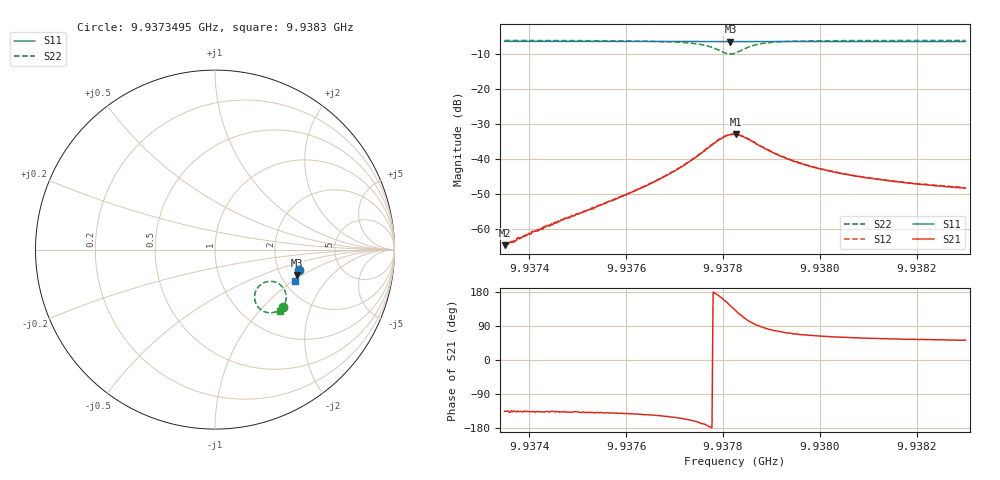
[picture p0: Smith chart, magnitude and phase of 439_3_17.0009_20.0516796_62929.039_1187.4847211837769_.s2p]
#  HZ  S  RI  R  50.00
! Rohde & Schwarz Vector Network Analyzer
! Rohde-Schwarz,ZNB20-2Port,1311601062101988,3.16
! Created: UTC 3/20/2024, 11:11:47 PM
! freq[Hz]  re:S11  im:S11  re:S21  im:S21  re:S12  im:S12  re:S22  im:S22
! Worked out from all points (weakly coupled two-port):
!   401 points, 9.9373495 GHz to 9.9383 GHz, reference 50 ohm
!   highest |S21| = -32.88 dB at 9.9378271 GHz (marker M1); lowest = -64.6 dB at 9.9373495 GHz (marker M2)
!   lowest |S11| = -6.4 dB at 9.9378153 GHz (marker M3), VSWR 2.84, Z = 123 - j44.9 ohm
!   |S11| at or under -10 dB: nowhere
!   |S22| runs from -9.9 to -6.1 dB; largest |S21 - S12| = 0.00087
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9.93734951e9  0.4703 -0.1117  -0.000418 -0.000418  -0.000416 -0.000399  0.381 -0.3201
9.93736852e9  0.4698 -0.113  -0.000462 -0.000468  -0.000526 -0.000481  0.3796 -0.3215
9.93739703e9  0.4693 -0.1151  -0.000603 -0.000592  -0.000646 -0.00061  0.3773 -0.3234
9.93742317e9  0.4686 -0.1167  -0.000734 -0.000694  -0.000758 -0.000707  0.3746 -0.3255
9.93743743e9  0.4683 -0.1179  -0.000816 -0.000797  -0.000798 -0.000758  0.3734 -0.3268
9.93747783e9  0.4675 -0.1204  -0.00105 -0.000983  -0.00111 -0.000975  0.3692 -0.33
9.93750872e9  0.4668 -0.1225  -0.00132 -0.00115  -0.00133 -0.00115  0.3657 -0.3327
9.93759189e9  0.4649 -0.128  -0.00228 -0.00187  -0.00236 -0.00187  0.3528 -0.3409
9.93766793e9  0.4629 -0.1332  -0.00431 -0.00282  -0.00445 -0.00281  0.3318 -0.3493
9.93771546e9  0.4617 -0.1365  -0.00712 -0.00341  -0.0073 -0.00337  0.3066 -0.3523
9.93776298e9  0.4597 -0.1396  -0.0131 -0.0023  -0.0136 -0.00201  0.2577 -0.3362
9.93779388e9  0.4581 -0.1409  -0.0187 0.00432  -0.0192 0.00477  0.2214 -0.2776
9.93781526e9  0.4574 -0.1411  -0.0178 0.0134  -0.018 0.0142  0.2414 -0.2078
9.93782477e9  0.4575 -0.1413  -0.015 0.0168  -0.0148 0.0176  0.2693 -0.1857
9.93782714e9  0.4576 -0.1414  -0.0143 0.0176  -0.0139 0.018  0.2773 -0.1824
9.93785328e9  0.4581 -0.1426  -0.00435 0.0187  -0.00382 0.019  0.3549 -0.1899
9.9378818e9  0.4582 -0.1449  0.00104 0.0149  0.00148 0.0149  0.3891 -0.2294
9.93792933e9  0.4572 -0.1484  0.00329 0.00986  0.00347 0.00995  0.3961 -0.2727
9.93798398e9  0.456 -0.1522  0.00333 0.00708  0.00349 0.00706  0.3906 -0.2976
9.93803864e9  0.4545 -0.1561  0.00312 0.00554  0.00329 0.00558  0.3842 -0.3114
9.93814319e9  0.4519 -0.1628  0.00279 0.00412  0.00288 0.00409  0.3737 -0.3273
9.93830003e9  0.4474 -0.1728  0.00236 0.00306  0.0025 0.00305  0.3613 -0.3416
